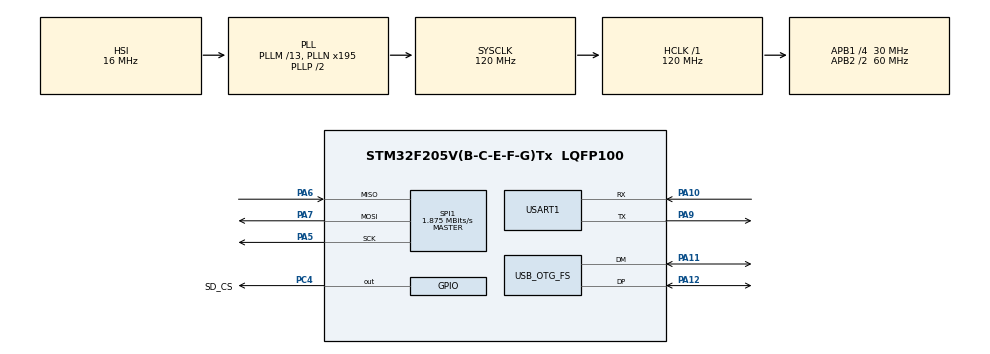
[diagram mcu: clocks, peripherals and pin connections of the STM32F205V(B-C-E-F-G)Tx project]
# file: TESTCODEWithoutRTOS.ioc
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FATFS._CODE_PAGE=936
FATFS._MAX_SS=4096
FATFS._USE_FIND=1
FATFS._USE_LFN=2
Mcu.Family=STM32F2
Mcu.Name=STM32F205V(B-C-E-F-G)Tx
Mcu.Package=LQFP100
NVIC.OTG_FS_IRQn=true\:0\:0\:false\:false\:true\:false\:true
NVIC.PriorityGroup=NVIC_PRIORITYGROUP_4
PA10.Mode=Asynchronous
PA10.Signal=USART1_RX
PA11.Mode=Device_Only
PA11.Signal=USB_OTG_FS_DM
PA12.Mode=Device_Only
PA12.Signal=USB_OTG_FS_DP
PA13.Mode=Serial_Wire
PA13.Signal=SYS_JTMS-SWDIO
PA14.Mode=Serial_Wire
PA14.Signal=SYS_JTCK-SWCLK
PA5.Mode=Full_Duplex_Master
PA5.Signal=SPI1_SCK
PA6.Mode=Full_Duplex_Master
PA6.Signal=SPI1_MISO
PA7.Mode=Full_Duplex_Master
PA7.Signal=SPI1_MOSI
PA9.Mode=Asynchronous
PA9.Signal=USART1_TX
PC4.GPIO_Label=SD_CS
PC4.GPIO_PuPd=GPIO_PULLUP
PC4.GPIO_Speed=GPIO_SPEED_FREQ_VERY_HIGH
PC4.PinState=GPIO_PIN_SET
PC4.Signal=GPIO_Output
PH0-OSC_IN.Mode=HSE-External-Oscillator
PH0-OSC_IN.Signal=RCC_OSC_IN
PH1-OSC_OUT.Mode=HSE-External-Oscillator
PH1-OSC_OUT.Signal=RCC_OSC_OUT
ProjectManager.HeapSize=0x800
ProjectManager.StackSize=0x2200
ProjectManager.TargetToolchain=MDK-ARM V5.27
RCC.48MHZClocksFreq_Value=48000000
RCC.AHBFreq_Value=120000000
RCC.APB1CLKDivider=RCC_HCLK_DIV4
RCC.APB1Freq_Value=30000000
RCC.APB1TimFreq_Value=60000000
RCC.APB2CLKDivider=RCC_HCLK_DIV2
RCC.APB2Freq_Value=60000000
RCC.APB2TimFreq_Value=120000000
RCC.CortexFreq_Value=120000000
RCC.HCLKFreq_Value=120000000
RCC.HSE_VALUE=8000000
RCC.HSI_VALUE=16000000
RCC.LSE_VALUE=32768
RCC.PLLM=13
RCC.PLLN=195
RCC.PLLQ=5
RCC.SYSCLKFreq_VALUE=120000000
RCC.SYSCLKSource=RCC_SYSCLKSOURCE_PLLCLK
RCC.VCOOutputFreq_Value=240000000
SPI1.BaudRatePrescaler=SPI_BAUDRATEPRESCALER_32
SPI1.CalculateBaudRate=1.875 MBits/s
SPI1.Direction=SPI_DIRECTION_2LINES
SPI1.Mode=SPI_MODE_MASTER
SPI1.VirtualType=VM_MASTER
USART1.VirtualMode=VM_ASYNC
USB_DEVICE.CLASS_NAME_FS=MSC
USB_DEVICE.MSC_MEDIA_PACKET-MSC_FS=4096
USB_DEVICE.VirtualMode-MSC_FS=Msc
USB_DEVICE.VirtualModeFS=Msc_FS
USB_OTG_FS.VirtualMode=Device_Only
VP_FATFS_VS_Generic.Mode=User_defined
VP_USB_DEVICE_VS_USB_DEVICE_MSC_FS.Mode=MSC_FS
board=custom

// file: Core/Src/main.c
/* USER CODE BEGIN Header */
/**
  ******************************************************************************
  * @file           : main.c
  * @brief          : Main program body
  ******************************************************************************
  * @attention
  *
  * <h2><center>&copy; Copyright (c) 2022 STMicroelectronics.
  * All rights reserved.</center></h2>
  *
  * This software component is licensed by ST under Ultimate Liberty license
  * SLA0044, the "License"; You may not use this file except in compliance with
  * the License. You may obtain a copy of the License at:
  *                             www.st.com/SLA0044
  *
  ******************************************************************************
  */
/* USER CODE END Header */
#include "main.h"
#include "fatfs.h"
#include "spi.h"
#include "usart.h"
#include "usb_device.h"
#include "gpio.h"

/* USER CODE BEGIN PV */
FATFS fs;
FATFS *pfs;
FIL fil;
FIL fil1;
FRESULT fres;
DWORD fre_clust;
uint32_t totalSpace, freeSpace;
char buffer[100];
/* USER CODE END PV */

void SystemClock_Config(void);

int main(void)
{

  /* MCU Configuration--------------------------------------------------------*/

  /* Reset of all peripherals, Initializes the Flash interface and the Systick. */
  HAL_Init();

  /* Configure the system clock */
  SystemClock_Config();

  /* Initialize all configured peripherals */
  MX_GPIO_Init();
  MX_SPI1_Init();
  MX_USART1_UART_Init();
  MX_FATFS_Init();
  MX_USB_DEVICE_Init();
  /* USER CODE BEGIN 2 */
	HAL_Delay(500);
	/* Mount SD Card */
  FRESULT res2 = f_mount(&fs, "", 0x01);
  printf("f_mount result: %02X\r\n", res2);
  if(res2 != FR_OK)
  {
    printf("f_mount failed\r\n");
    Error_Handler();
  }

	printf("f_mount ok\r\n");
  /* Check freeSpace space */
  if(f_getfree("", &fre_clust, &pfs) != FR_OK)
  {
    printf("f_getfree failed\r\n");
    Error_Handler();
  }
	printf("f_getfree ok\r\n");

  totalSpace = (uint32_t)((pfs->n_fatent - 2) * pfs->csize * 0.5);
  freeSpace = (uint32_t)(fre_clust * pfs->csize * 0.5);
  printf("total:%dKB, free:%dKB\r\n", totalSpace, freeSpace);

  /* free space is less than 1kb */
  if(freeSpace < 1)
  {
    printf("freeSpace not enough\r\n");
    Error_Handler();
  }

  /* Open file to write */
  printf("f_open first.txt\r\n");
	res2 = f_open(&fil, "first.txt", FA_OPEN_ALWAYS | FA_READ | FA_WRITE);
	printf("f_open  return:%d\n",res2);

//  if(f_open(&fil, "first.txt", FA_CREATE_ALWAYS | FA_OPEN_ALWAYS | FA_CREATE_NEW|FA_READ | FA_WRITE) != FR_OK)
//  {
//    printf("f_open failed : %d\r\n",f_open(&fil, "first.txt",FA_CREATE_ALWAYS | FA_OPEN_ALWAYS | FA_CREATE_NEW|FA_READ | FA_WRITE));
//    Error_Handler();
//  }

  /* Writing text */
  f_puts("STM32 SD Card I/O Example via SPI\n", &fil);
  f_puts("Black Sheep Wall!!!", &fil);

  /* Close file */
  printf("f_close first.txt\r\n");

  if(f_close(&fil) != FR_OK)
  {
    printf("f_close failed:%d\r\n",f_close(&fil));
    Error_Handler();
  }

  /* Open file to read */
  printf("f_open first.txt\r\n");
  if(f_open(&fil, "first.txt", FA_READ) != FR_OK)
  {
    printf("f_open failed\r\n");
    Error_Handler();
  }

  printf("f_gets first.txt\r\n");
  while(f_gets(buffer, sizeof(buffer), &fil))
  {
    /* SWV output */

    printf("%s", buffer);
    fflush(stdout);
  }
  printf("\r\ndone\r\n");

  /* Close file */
  printf("f_close first.txt\r\n");
  if(f_close(&fil) != FR_OK)
  {
    printf("f_close failed\r\n");
    Error_Handler();
  }

  /* Unmount SDCARD */
  printf("f_mount unmount\r\n");
  if(f_mount(NULL, "", 1) != FR_OK)
  {
    printf("f_mount failed\r\n");
    Error_Handler();
  }

	f_mount(&fs, "", 0x01);
	f_open(&fil, "test.txt", FA_OPEN_ALWAYS | FA_READ | FA_WRITE);
  f_puts("15:18\n", &fil);
  f_puts("Black Sheep Wall!!!", &fil);
	f_close(&fil);
	f_mount(NULL, "", 1);

  /* Close file */

  f_close(&fil);

  /* USER CODE END 2 */

  /* Infinite loop */
  while (1)
  {

  }
}

void SystemClock_Config(void)
{
  RCC_OscInitTypeDef RCC_OscInitStruct = {0};
  RCC_ClkInitTypeDef RCC_ClkInitStruct = {0};

  /** Initializes the RCC Oscillators according to the specified parameters
  * in the RCC_OscInitTypeDef structure.
  */
  RCC_OscInitStruct.OscillatorType = RCC_OSCILLATORTYPE_HSI;
  RCC_OscInitStruct.HSIState = RCC_HSI_ON;
  RCC_OscInitStruct.HSICalibrationValue = RCC_HSICALIBRATION_DEFAULT;
  RCC_OscInitStruct.PLL.PLLState = RCC_PLL_ON;
  RCC_OscInitStruct.PLL.PLLSource = RCC_PLLSOURCE_HSI;
  RCC_OscInitStruct.PLL.PLLM = 13;
  RCC_OscInitStruct.PLL.PLLN = 195;
  RCC_OscInitStruct.PLL.PLLP = RCC_PLLP_DIV2;
  RCC_OscInitStruct.PLL.PLLQ = 5;
  if (HAL_RCC_OscConfig(&RCC_OscInitStruct) != HAL_OK)
  {
    Error_Handler();
  }
  /** Initializes the CPU, AHB and APB buses clocks
  */
  RCC_ClkInitStruct.ClockType = RCC_CLOCKTYPE_HCLK|RCC_CLOCKTYPE_SYSCLK
                              |RCC_CLOCKTYPE_PCLK1|RCC_CLOCKTYPE_PCLK2;
  RCC_ClkInitStruct.SYSCLKSource = RCC_SYSCLKSOURCE_PLLCLK;
  RCC_ClkInitStruct.AHBCLKDivider = RCC_SYSCLK_DIV1;
  RCC_ClkInitStruct.APB1CLKDivider = RCC_HCLK_DIV4;
  RCC_ClkInitStruct.APB2CLKDivider = RCC_HCLK_DIV2;

  if (HAL_RCC_ClockConfig(&RCC_ClkInitStruct, FLASH_LATENCY_3) != HAL_OK)
  {
    Error_Handler();
  }
}

void Error_Handler(void)
{
  __disable_irq();
  while (1)
  {
  }
}

/************************ (C) COPYRIGHT STMicroelectronics *****END OF FILE****/
